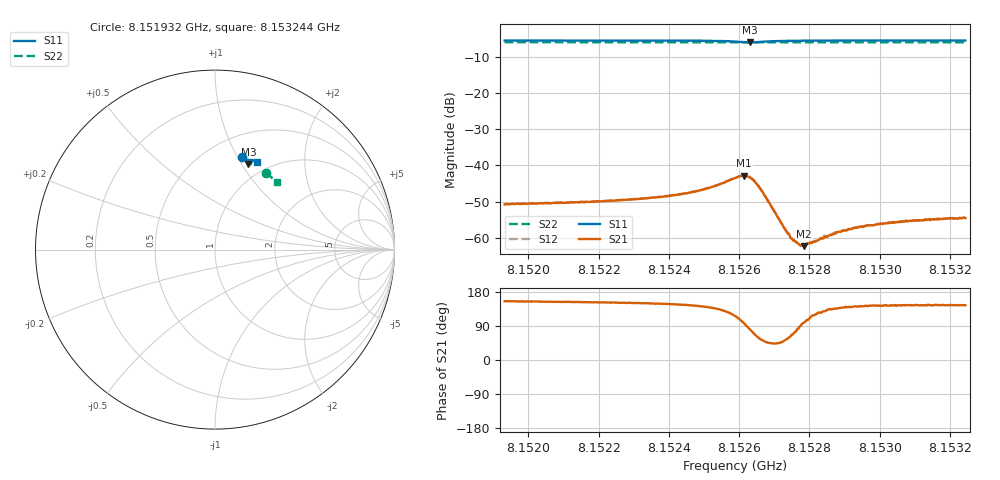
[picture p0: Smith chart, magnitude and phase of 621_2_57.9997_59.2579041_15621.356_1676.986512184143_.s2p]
#  HZ  S  RI  R  50.00
! Rohde & Schwarz Vector Network Analyzer
! Rohde-Schwarz,ZNB20-2Port,1311601062101988,3.16
! Created: UTC 3/21/2024, 1:18:08 AM
! freq[Hz]  re:S11  im:S11  re:S21  im:S21  re:S12  im:S12  re:S22  im:S22
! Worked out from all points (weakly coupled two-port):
!   401 points, 8.151932 GHz to 8.153244 GHz, reference 50 ohm
!   highest |S21| = -42.86 dB at 8.152614 GHz (marker M1); lowest = -62.3 dB at 8.152785 GHz (marker M2)
!   lowest |S11| = -5.8 dB at 8.152631 GHz (marker M3), VSWR 3.08, Z = 41.7 + j53.5 ohm
!   |S11| at or under -10 dB: nowhere
!   |S22| runs from -5.8 to -5.8 dB; largest |S21 - S12| = 0.00013
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8.151932e9  0.1528 0.5182  -0.00261 0.00122  -0.00266 0.00124  0.2828 0.427
8.1521518e9  0.1686 0.5135  -0.00276 0.00145  -0.00278 0.00146  0.2942 0.4188
8.1523716e9  0.1852 0.5075  -0.00311 0.0019  -0.00312 0.00193  0.3055 0.4102
8.1524929e9  0.1964 0.5009  -0.00358 0.00283  -0.00357 0.0029  0.3117 0.4053
8.1525389e9  0.2012 0.4955  -0.00374 0.00383  -0.00373 0.00388  0.3138 0.4033
8.1525881e9  0.2028 0.4829  -0.00297 0.00603  -0.00295 0.0061  0.316 0.4009
8.1526143e9  0.1953 0.4748  -0.000811 0.00715  -0.000747 0.00719  0.317 0.3997
8.1526307e9  0.1865 0.4747  0.00112 0.0067  0.0012 0.00678  0.3174 0.3993
8.1526471e9  0.18 0.4801  0.00243 0.00523  0.00251 0.00528  0.3181 0.3989
8.1526635e9  0.1782 0.4872  0.00267 0.00361  0.00275 0.00362  0.3187 0.3985
8.1527259e9  0.1882 0.4998  0.00092 0.00108  0.000956 0.00106  0.3222 0.3962
8.1527455e9  0.1915 0.5006  0.000474 0.000888  0.00049 0.000926  0.3233 0.3958
8.1527521e9  0.1924 0.5008  0.000364 0.000865  0.000374 0.000867  0.3237 0.3953
8.1527685e9  0.1947 0.5009  0.000108 0.000813  0.000127 0.000847  0.3246 0.3946
8.1527849e9  0.1969 0.501  -0.000116 0.000756  -9.74e-05 0.000803  0.3254 0.3939
8.1528079e9  0.1994 0.5007  -0.000385 0.000755  -0.000332 0.000805  0.3266 0.393
8.1528472e9  0.2036 0.5  -0.000668 0.000791  -0.000666 0.000808  0.3285 0.3913
8.15288e9  0.2065 0.4993  -0.000853 0.000825  -0.000846 0.000831  0.3301 0.3899
8.1529194e9  0.2099 0.4982  -0.000997 0.00085  -0.00105 0.000842  0.3319 0.3883
8.1530277e9  0.2182 0.4953  -0.00128 0.000948  -0.00131 0.000983  0.337 0.3837
8.1531359e9  0.2259 0.4924  -0.00145 0.001  -0.00147 0.00104  0.3422 0.379
8.1532442e9  0.2333 0.4893  -0.00152 0.00109  -0.00152 0.00111  0.3471 0.3742
